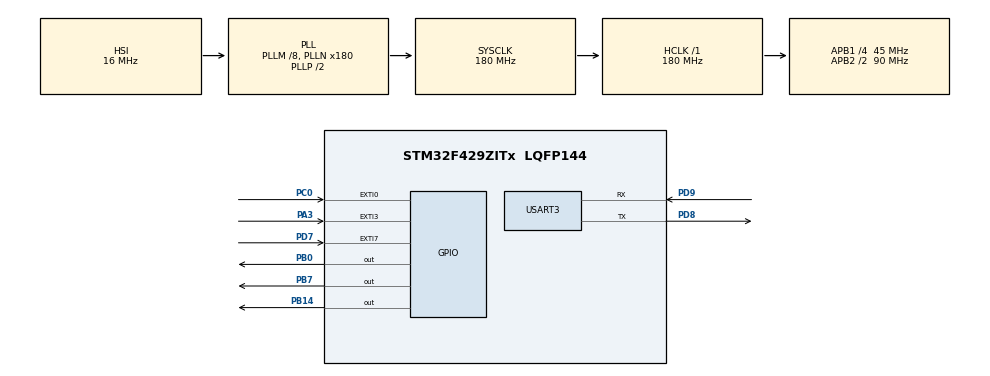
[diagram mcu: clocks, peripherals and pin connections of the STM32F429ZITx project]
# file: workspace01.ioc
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Mcu.Family=STM32F4
Mcu.Name=STM32F429ZITx
Mcu.Package=LQFP144
NVIC.EXTI0_IRQn=true\:0\:0\:false\:true\:true\:4\:true\:true\:true
NVIC.EXTI3_IRQn=true\:0\:0\:false\:true\:true\:3\:true\:true\:true
NVIC.EXTI9_5_IRQn=true\:0\:0\:false\:true\:true\:2\:true\:true\:true
NVIC.PriorityGroup=NVIC_PRIORITYGROUP_4
NVIC.USART3_IRQn=true\:0\:0\:false\:true\:true\:1\:true\:true\:true
PA13.Mode=Serial_Wire
PA13.Signal=SYS_JTMS-SWDIO
PA14.Mode=Serial_Wire
PA14.Signal=SYS_JTCK-SWCLK
PA3.GPIO_ModeDefaultEXTI=GPIO_MODE_IT_RISING
PA3.Signal=GPXTI3
PB0.Signal=GPIO_Output
PB14.Signal=GPIO_Output
PB7.Signal=GPIO_Output
PC0.GPIO_ModeDefaultEXTI=GPIO_MODE_IT_RISING
PC0.Signal=GPXTI0
PC14/OSC32_IN.Mode=LSE-External-Oscillator
PC14/OSC32_IN.Signal=RCC_OSC32_IN
PC15/OSC32_OUT.Mode=LSE-External-Oscillator
PC15/OSC32_OUT.Signal=RCC_OSC32_OUT
PD7.GPIO_ModeDefaultEXTI=GPIO_MODE_IT_RISING
PD7.Signal=GPXTI7
PD8.Mode=Asynchronous
PD8.Signal=USART3_TX
PD9.Mode=Asynchronous
PD9.Signal=USART3_RX
ProjectManager.HeapSize=0x200
ProjectManager.StackSize=0x400
ProjectManager.TargetToolchain=STM32CubeIDE
RCC.48MHZClocksFreq_Value=90000000
RCC.AHBFreq_Value=180000000
RCC.APB1CLKDivider=RCC_HCLK_DIV4
RCC.APB1Freq_Value=45000000
RCC.APB1TimFreq_Value=90000000
RCC.APB2CLKDivider=RCC_HCLK_DIV2
RCC.APB2Freq_Value=90000000
RCC.APB2TimFreq_Value=180000000
RCC.CortexFreq_Value=180000000
RCC.HCLKFreq_Value=180000000
RCC.HSE_VALUE=25000000
RCC.HSI_VALUE=16000000
RCC.PLLM=8
RCC.PLLN=180
RCC.RCC_RTC_Clock_Source=RCC_RTCCLKSOURCE_LSE
RCC.RCC_RTC_Clock_SourceVirtual=RCC_RTCCLKSOURCE_LSE
RCC.SYSCLKFreq_VALUE=180000000
RCC.SYSCLKSource=RCC_SYSCLKSOURCE_PLLCLK
RCC.VCOOutputFreq_Value=360000000
USART3.VirtualMode=VM_ASYNC
VP_RTC_VS_RTC_Activate.Mode=RTC_Enabled
board=custom

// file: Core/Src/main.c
/* USER CODE BEGIN Header */
/**
 ******************************************************************************
 * @file           : main.c
 * @brief          : Main program body
 ******************************************************************************
 * @attention
 *
 * Copyright (c) 2022 STMicroelectronics.
 * All rights reserved.
 *
 * This software is licensed under terms that can be found in the LICENSE file
 * in the root directory of this software component.
 * If no LICENSE file comes with this software, it is provided AS-IS.
 *
 ******************************************************************************
 */
/* USER CODE END Header */
#include "main.h"
#include "rtc.h"
#include "usart.h"
#include "gpio.h"

/* USER CODE BEGIN Includes */
#include "stdio.h"
#include "string.h"
/* USER CODE END Includes */

/* USER CODE BEGIN PD */
#define NOISE 224
#define COUNT_LED 3 // 사용하는 led 수
#define TRANSMITDELAY 350
/* USER CODE END PD */

/* USER CODE BEGIN PV */
uint8_t rx;
char rx_buf[20];
char tx_buf[20];
int bufindex = 0;

int current_time_pin0 = 0;
int current_time_pin3 = 0;
int current_time_pin7 = 0;

int time_interval_pin0 = 0;
int last_time_pin0 = 0;

int time_interval_pin3 = 0;
int last_time_pin3 = 0;

int time_interval_pin7 = 0;
int last_time_pin7 = 0;

int flag = 0;
uint8_t led1 = 0;
uint8_t led2 = 0;
uint8_t led3 = 0;
/* USER CODE END PV */

void SystemClock_Config(void);
static void MX_NVIC_Init(void);
/* USER CODE BEGIN PFP */
void ToggleLED_MFC();
void Transmit_MFC();
/* USER CODE END PFP */

/* USER CODE BEGIN 0 */
int __io_putchar(int ch) {
	HAL_UART_Transmit(&huart3, (uint8_t*) ch, 1, 1);
	return ch;
}
/* USER CODE END 0 */

int main(void) {
	/* USER CODE BEGIN 1 */
	int current_time = 0;
	/* USER CODE END 1 */

	/* MCU Configuration--------------------------------------------------------*/

	/* Reset of all peripherals, Initializes the Flash interface and the Systick. */
	HAL_Init();

	/* Configure the system clock */
	SystemClock_Config();

	/* Initialize all configured peripherals */
	MX_GPIO_Init();
	MX_RTC_Init();
	MX_USART3_UART_Init();

	/* Initialize interrupts */
	MX_NVIC_Init();
	/* USER CODE BEGIN 2 */
	memset(rx_buf, 0, sizeof(rx_buf));
	memset(tx_buf, 0, sizeof(tx_buf));
	HAL_UART_Receive_IT(&huart3, &rx, 1);
	current_time = HAL_GetTick();
	/* USER CODE END 2 */

	/* Infinite loop */
	while (1) {

		/* USER CODE BEGIN 3 */
		if (flag == 1) {
			ToggleLED_MFC();
			Transmit_MFC();
		}
		if (HAL_GetTick() >= (current_time + TRANSMITDELAY)) {
			current_time = HAL_GetTick();
			Transmit_MFC();
		}
	}
	/* USER CODE END 3 */
}

void SystemClock_Config(void) {
	RCC_OscInitTypeDef RCC_OscInitStruct = { 0 };
	RCC_ClkInitTypeDef RCC_ClkInitStruct = { 0 };

	/** Configure the main internal regulator output voltage
	 */
	__HAL_RCC_PWR_CLK_ENABLE();
	__HAL_PWR_VOLTAGESCALING_CONFIG(PWR_REGULATOR_VOLTAGE_SCALE1);

	/** Initializes the RCC Oscillators according to the specified parameters
	 * in the RCC_OscInitTypeDef structure.
	 */
	RCC_OscInitStruct.OscillatorType = RCC_OSCILLATORTYPE_HSI
			| RCC_OSCILLATORTYPE_LSE;
	RCC_OscInitStruct.LSEState = RCC_LSE_ON;
	RCC_OscInitStruct.HSIState = RCC_HSI_ON;
	RCC_OscInitStruct.HSICalibrationValue = RCC_HSICALIBRATION_DEFAULT;
	RCC_OscInitStruct.PLL.PLLState = RCC_PLL_ON;
	RCC_OscInitStruct.PLL.PLLSource = RCC_PLLSOURCE_HSI;
	RCC_OscInitStruct.PLL.PLLM = 8;
	RCC_OscInitStruct.PLL.PLLN = 180;
	RCC_OscInitStruct.PLL.PLLP = RCC_PLLP_DIV2;
	RCC_OscInitStruct.PLL.PLLQ = 4;
	if (HAL_RCC_OscConfig(&RCC_OscInitStruct) != HAL_OK) {
		Error_Handler();
	}

	/** Activate the Over-Drive mode
	 */
	if (HAL_PWREx_EnableOverDrive() != HAL_OK) {
		Error_Handler();
	}

	/** Initializes the CPU, AHB and APB buses clocks
	 */
	RCC_ClkInitStruct.ClockType = RCC_CLOCKTYPE_HCLK | RCC_CLOCKTYPE_SYSCLK
			| RCC_CLOCKTYPE_PCLK1 | RCC_CLOCKTYPE_PCLK2;
	RCC_ClkInitStruct.SYSCLKSource = RCC_SYSCLKSOURCE_PLLCLK;
	RCC_ClkInitStruct.AHBCLKDivider = RCC_SYSCLK_DIV1;
	RCC_ClkInitStruct.APB1CLKDivider = RCC_HCLK_DIV4;
	RCC_ClkInitStruct.APB2CLKDivider = RCC_HCLK_DIV2;

	if (HAL_RCC_ClockConfig(&RCC_ClkInitStruct, FLASH_LATENCY_5) != HAL_OK) {
		Error_Handler();
	}
}

/**
 * @brief NVIC Configuration.
 * @retval None
 */
static void MX_NVIC_Init(void) {
	/* USART3_IRQn interrupt configuration */
	HAL_NVIC_SetPriority(USART3_IRQn, 0, 0);
	HAL_NVIC_EnableIRQ(USART3_IRQn);
	/* EXTI9_5_IRQn interrupt configuration */
	HAL_NVIC_SetPriority(EXTI9_5_IRQn, 0, 0);
	HAL_NVIC_EnableIRQ(EXTI9_5_IRQn);
	/* EXTI3_IRQn interrupt configuration */
	HAL_NVIC_SetPriority(EXTI3_IRQn, 0, 0);
	HAL_NVIC_EnableIRQ(EXTI3_IRQn);
	/* EXTI0_IRQn interrupt configuration */
	HAL_NVIC_SetPriority(EXTI0_IRQn, 0, 0);
	HAL_NVIC_EnableIRQ(EXTI0_IRQn);
}

/* USER CODE BEGIN 4 */
void Transmit_MFC() {

	led1 = HAL_GPIO_ReadPin(GPIOB, GPIO_PIN_0);
	led2 = HAL_GPIO_ReadPin(GPIOB, GPIO_PIN_7);
	led3 = HAL_GPIO_ReadPin(GPIOB, GPIO_PIN_14);
	sprintf(tx_buf, "<LED%d%d%d%d>", COUNT_LED, led1, led2, led3);
	HAL_UART_Transmit(&huart3, (uint8_t*) tx_buf, sizeof(tx_buf), 10);

}

void ToggleLED_MFC() {
	if (led1 == 1) {
		HAL_GPIO_TogglePin(GPIOB, GPIO_PIN_0);
	}
	if (led2 == 1) {
		HAL_GPIO_TogglePin(GPIOB, GPIO_PIN_7);
	}

	if (led3 == 1) {
		HAL_GPIO_TogglePin(GPIOB, GPIO_PIN_14);
	}
	memset(tx_buf, 0, sizeof(tx_buf));
	memset(rx_buf, 0, sizeof(rx_buf));
	flag = 0;
	HAL_UART_Receive_IT(&huart3, &rx, 1);
}

void HAL_UART_RxCpltCallback(UART_HandleTypeDef *huart) {
	if (huart->Instance == USART3) {
		if ((rx == '\n') && (rx_buf[bufindex - 1] == '>')
				&& (rx_buf[0] == '<')) {
			char *p;
			if ((p = strstr((char*) rx_buf, "<LED3")) != 0) {
				led1 = *(p + 5) - '0';
				led2 = *(p + 6) - '0';
				led3 = *(p + 7) - '0';
				bufindex = 0;
				flag = 1;
			}
		} else if (bufindex < 20) {
			rx_buf[bufindex++] = rx;
			HAL_UART_Receive_IT(&huart3, &rx, 1);
		}
	}
}
void HAL_GPIO_EXTI_Callback(uint16_t GPIO_Pin) {
	if (GPIO_Pin == GPIO_PIN_0) {
		current_time_pin0 = HAL_GetTick();
		time_interval_pin0 = current_time_pin0 - last_time_pin0;
		last_time_pin0 = current_time_pin0;

		if (time_interval_pin0 <= NOISE) {
		} else {
			HAL_GPIO_TogglePin(GPIOB, GPIO_PIN_0);
		}
	}

	if (GPIO_Pin == GPIO_PIN_3) {
		current_time_pin3 = HAL_GetTick();
		time_interval_pin3 = current_time_pin3 - last_time_pin3;
		last_time_pin3 = current_time_pin3;

		if (time_interval_pin3 <= NOISE) {
		} else {
			HAL_GPIO_TogglePin(GPIOB, GPIO_PIN_7);
		}
	}
	if (GPIO_Pin == GPIO_PIN_7) {
		current_time_pin7 = HAL_GetTick();
		time_interval_pin7 = current_time_pin7 - last_time_pin7;
		last_time_pin7 = current_time_pin7;

		if (time_interval_pin7 <= NOISE) {
		} else {
			HAL_GPIO_TogglePin(GPIOB, GPIO_PIN_14);
		}
	}
}

/* USER CODE END 4 */

void Error_Handler(void) {
	__disable_irq();
	while (1) {
	}
}
